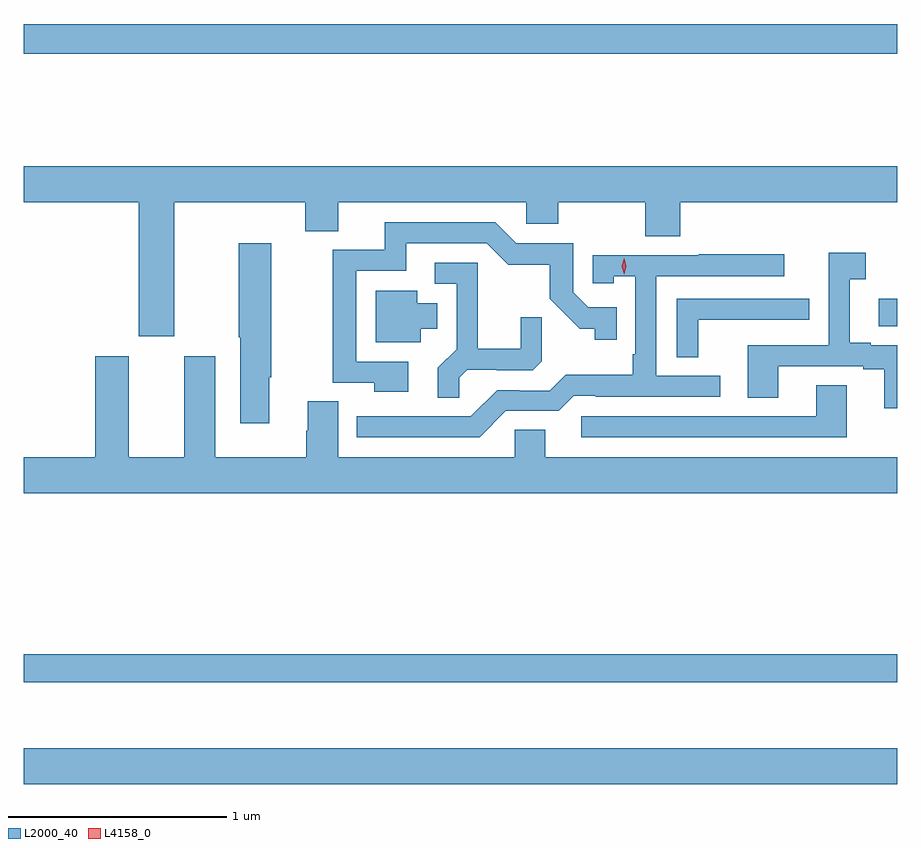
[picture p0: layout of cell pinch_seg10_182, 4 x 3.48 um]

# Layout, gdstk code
import gdstk
lib = gdstk.Library(unit=1e-6, precision=1e-09)
def R(c, l, rs):  # rectangles x0, y0, x1, y1
    for r in rs: c.add(gdstk.rectangle(r[:2], r[2:], *l))
def P(c, l, *ps):  # polygons
    for p in ps: c.add(gdstk.Polygon(p, *l))
L2000_40 = (2000, 40)
L4158_0 = (4158, 0)

pinch_seg10_182 = lib.new_cell('pinch_seg10_182')
R(pinch_seg10_182, L2000_40, [(744.013,1259.024,748.013,1259.188), (744.013,1259.49,748.013,1259.618), (747.927,1261.121,748.013,1261.245), (744.013,1262.368,748.013,1262.504)])
P(pinch_seg10_182, L2000_40, [(744.703,1261.688),(745.301,1261.688),(745.301,1261.555),(745.453,1261.555),(745.453,1261.688),(746.313,1261.688),(746.313,1261.59),(746.46,1261.59),(746.46,1261.688),(746.86,1261.688),(746.86,1261.531),(747.02,1261.531),(747.02,1261.688),(748.013,1261.688),(748.013,1261.852),(744.013,1261.852),(744.013,1261.688),(744.539,1261.688),(744.539,1261.074),(744.703,1261.074)],
  [(745.774,1260.957),(745.536,1260.957),(745.536,1261.374),(745.765,1261.374),(745.765,1261.5),(746.133,1261.5),(746.232,1261.402),(746.421,1261.402),(746.421,1261.246),(746.558,1261.109),(746.628,1261.109),(746.628,1261.059),(746.729,1261.059),(746.729,1261.206),(746.598,1261.206),(746.529,1261.275),(746.529,1261.5),(746.268,1261.5),(746.172,1261.596),(745.667,1261.596),(745.667,1261.47),(745.428,1261.47),(745.428,1260.861),(745.618,1260.861),(745.618,1260.821),(745.774,1260.821)],
  [(745.138,1260.887),(745.146,1260.887),(745.146,1261.501),(744.997,1261.501),(744.997,1261.069),(745.004,1261.069),(745.004,1260.675),(745.138,1260.675)],
  [(748.013,1261.032),(747.892,1261.032),(747.892,1261.045),(747.796,1261.045),(747.796,1261.336),(747.868,1261.336),(747.868,1261.456),(747.699,1261.456),(747.699,1261.032),(747.329,1261.032),(747.329,1260.793),(747.469,1260.793),(747.469,1260.936),(747.857,1260.936),(747.857,1260.924),(747.953,1260.924),(747.953,1260.744),(748.013,1260.744)],
  [(746.22,1260.732),(746.463,1260.732),(746.532,1260.801),(746.632,1260.801),(746.632,1260.798),(747.202,1260.798),(747.202,1260.894),(746.91,1260.894),(746.91,1261.35),(747.496,1261.35),(747.496,1261.449),(747.103,1261.449),(747.103,1261.446),(746.619,1261.446),(746.619,1261.317),(746.715,1261.317),(746.715,1261.349),(746.814,1261.349),(746.814,1260.991),(746.802,1260.991),(746.802,1260.898),(746.494,1260.898),(746.421,1260.825),(746.282,1260.825),(746.282,1260.828),(746.181,1260.828),(746.061,1260.708),(745.538,1260.708),(745.538,1260.612),(746.1,1260.612)],
  [(746.007,1260.884),(746.044,1260.921),(746.178,1260.921),(746.178,1260.918),(746.343,1260.918),(746.384,1260.959),(746.384,1261.161),(746.29,1261.161),(746.29,1261.018),(746.093,1261.018),(746.093,1261.41),(745.896,1261.41),(745.896,1261.314),(745.995,1261.314),(745.995,1261.015),(745.909,1260.929),(745.909,1260.793),(746.007,1260.793)],
  [(745.831,1261.109),(745.906,1261.109),(745.906,1261.225),(745.816,1261.225),(745.816,1261.282),(745.625,1261.282),(745.625,1261.046),(745.831,1261.046)],
  [(747.102,1261.149),(747.497,1261.149),(747.497,1261.15),(747.61,1261.15),(747.61,1261.245),(747.003,1261.245),(747.003,1260.979),(747.102,1260.979)],
  [(748.013,1260.52),(746.401,1260.52),(746.401,1260.647),(746.262,1260.647),(746.262,1260.52),(745.453,1260.52),(745.453,1260.776),(745.313,1260.776),(745.313,1260.642),(745.306,1260.642),(745.306,1260.52),(744.889,1260.52),(744.889,1260.982),(744.749,1260.982),(744.749,1260.52),(744.493,1260.52),(744.493,1260.982),(744.341,1260.982),(744.341,1260.52),(744.013,1260.52),(744.013,1260.356),(748.013,1260.356)],
  [(747.781,1260.851),(747.641,1260.851),(747.641,1260.708),(746.565,1260.708),(746.565,1260.612),(747.781,1260.612)])
P(pinch_seg10_182, L4158_0, [(746.762,1261.359),(746.762,1261.359),(746.752,1261.395),(746.762,1261.431),(746.762,1261.431),(746.762,1261.431),(746.772,1261.395),(746.762,1261.359)])

lib.write_gds('pinch_seg10_182.gds')
